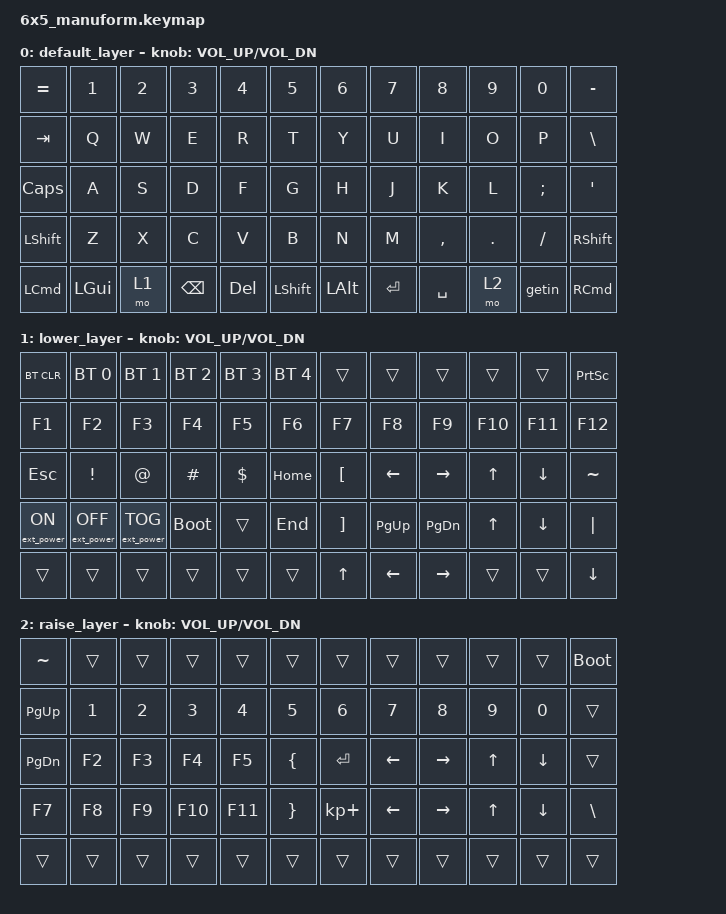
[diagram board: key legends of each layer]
/*
 * Copyright (c) 2020 The ZMK Contributors
 *
 * SPDX-License-Identifier: MIT
 */

#include <behaviors.dtsi>
#include <dt-bindings/zmk/bt.h>
#include <dt-bindings/zmk/ext_power.h>
#include <dt-bindings/zmk/keys.h>

/ {
    macros {
        getin: getin {
            compatible = "zmk,behavior-macro";
            label = "GETIN";
            #binding-cells = <0>;
            bindings = <&none &kp LS(W) &kp L &kp I &kp I &kp L &kp AT &kp N3 &kp N5 &kp LS(F) &kp AT &kp M &kp N1 &kp L &kp Y &kp N0 &kp NUMBER_4>;
        };
    };

    keymap {
        compatible = "zmk,keymap";

        default_layer {
            // ------------------------------------------------------------------------------------------------------------
            // |  ESC   |  1  |  2  |  3   |  4   |  5   |                    |  6   |  7    |  8    |  9   |   0   |   `   |
            // |  TAB   |  Q  |  W  |  E   |  R   |  T   |                    |  Y   |  U    |  I    |  O   |   P   |   -   |
            // |  CTRL  |  A  |  S  |  D   |  F   |  G   |                    |  H   |  J    |  K    |  L   |   ;   |   '   |
            // | SHIFT  |  Z  |  X  |  C   |  V   |  B   |                    |  N   |  M    |  ,    |  .   |   /   | SHIFT |
            // |    2   |  2  | f   | 6    | 4    | 1    |                    | 2    | 1     | w     | s    | n     |  a    |

            bindings = <
&kp EQUAL         &kp N1        &kp N2  &kp N3         &kp N4      &kp N5          &kp N6        &kp N7   &kp N8     &kp N9   &kp N0    &kp MINUS
&kp TAB           &kp Q         &kp W   &kp E          &kp R       &kp T           &kp Y         &kp U    &kp I      &kp O    &kp P     &kp BSLH
&kp CAPSLOCK      &kp A         &kp S   &kp D          &kp F       &kp G           &kp H         &kp J    &kp K      &kp L    &kp SEMI  &kp SQT
&kp LEFT_SHIFT    &kp Z         &kp X   &kp C          &kp V       &kp B           &kp N         &kp M    &kp COMMA  &kp DOT  &kp FSLH  &kp RIGHT_SHIFT
&kp LEFT_COMMAND  &kp LEFT_GUI  &mo 1   &kp BACKSPACE  &kp DELETE  &kp LEFT_SHIFT  &kp LEFT_ALT  &kp RET  &kp SPACE  &mo 2    &getin    &kp RIGHT_COMMAND
            >;

            sensor-bindings = <&inc_dec_kp C_VOL_UP C_VOL_DN>;
        };

        lower_layer {
            // ------------------------------------------------------------------------------------------------------------
            // | BTCLR | BT1 | BT2 |  BT3 |  BT4 |  BT5 |                   |      |       |       |      |       |       |
            // |  F1   |  F2 |  F3 |  F4  |  F5  |  F6  |                   |  F7  |  F8   |  F9   |  F10 |  F11  |  F12  |
            // |   `   |  !  |  @  |  #   |  $   |  %   |                   |  ^   |  &    |  *    |  (   |   )   |   ~   |
            // |       |     |     |      |      |      |                   |      |  _    |  +    |  {   |   }   |  "|"  |
            // |       |     |     |      |      |      |                   |      |       |       |      |       |       |

            bindings = <
&bt BT_CLR        &bt BT_SEL 0       &bt BT_SEL 1       &bt BT_SEL 2  &bt BT_SEL 3  &bt BT_SEL 4  &trans             &trans       &trans         &trans        &trans    &kp PRINTSCREEN
&kp F1            &kp F2             &kp F3             &kp F4        &kp F5        &kp F6        &kp F7             &kp F8       &kp F9         &kp F10       &kp F11   &kp F12
&kp ESC           &kp EXCL           &kp AT             &kp HASH      &kp DOLLAR    &kp HOME      &kp LEFT_BRACKET   &kp LEFT     &kp RIGHT      &kp UP_ARROW  &kp DOWN  &kp TILDE
&ext_power EP_ON  &ext_power EP_OFF  &ext_power EP_TOG  &bootloader   &trans        &kp END       &kp RIGHT_BRACKET  &kp PAGE_UP  &kp PAGE_DOWN  &kp UP_ARROW  &kp DOWN  &kp PIPE
&trans            &trans             &trans             &trans        &trans        &trans        &kp UP_ARROW       &kp LEFT     &kp RIGHT      &trans        &trans    &kp DOWN
            >;

            sensor-bindings = <&inc_dec_kp C_VOL_UP C_VOL_DN>;
        };

        raise_layer {
            // ------------------------------------------------------------------------------------------------------------
            // |       |     |     |      |      |      |                   |      |       |       |      |       |       |
            // |   `   |  1  |  2  |  3   |  4   |  5   |                   |  6   |   7   |   8   |  9   |   0   |       |
            // |   F1  |  F2 |  F3 |  F4  |  F5  |  F6  |                   |      |   <-  |   v   |  ^   |  ->   |       |
            // |   F7  |  F8 |  F9 |  F10 |  F11 |  F12 |		             |  +   |   -   |   =   |  [   |   ]   |   \   |
            // |     |     |      |      |      |        |                   |       |      |       |       |      |       |

            bindings = <
&kp TILDE  &trans  &trans  &trans   &trans   &trans           &trans       &trans    &trans     &trans        &trans    &bootloader
&kp PG_UP  &kp N1  &kp N2  &kp N3   &kp N4   &kp N5           &kp N6       &kp N7    &kp N8     &kp N9        &kp N0    &trans
&kp PG_DN  &kp F2  &kp F3  &kp F4   &kp F5   &kp LEFT_BRACE   &kp RET      &kp LEFT  &kp RIGHT  &kp UP        &kp DOWN  &trans
&kp F7     &kp F8  &kp F9  &kp F10  &kp F11  &kp RIGHT_BRACE  &kp KP_PLUS  &kp LEFT  &kp RIGHT  &kp UP_ARROW  &kp DOWN  &kp BSLH
&trans     &trans  &trans  &trans   &trans   &trans           &trans       &trans    &trans     &trans        &trans    &trans
            >;

            sensor-bindings = <&inc_dec_kp C_VOL_UP C_VOL_DN>;
        };
    };
};
